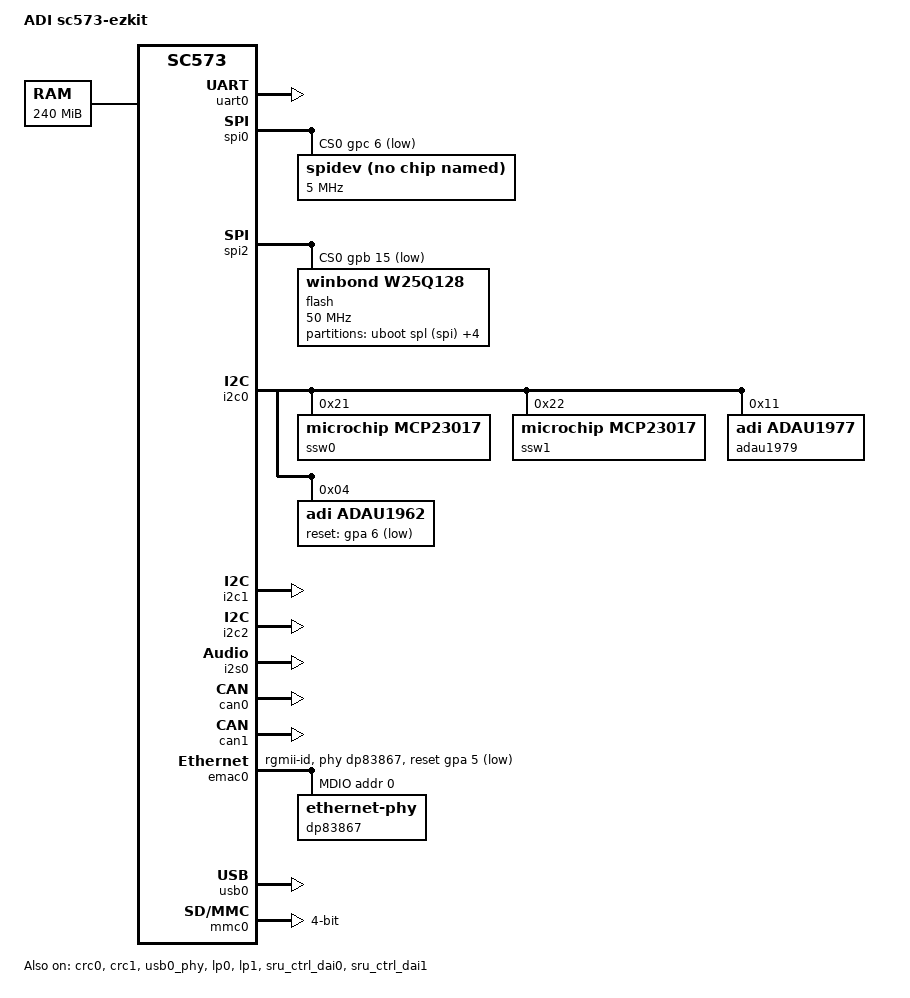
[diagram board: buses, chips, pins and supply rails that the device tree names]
/*
 * Device tree for ADI sc573-ezkit board
 *
 * Copyright 2014 - 2018 Analog Devices Inc.
 *
 * Licensed under the GPL-2 or later.
 *
 * todo list:
 * - bushbutton GPIOs are all incorrect and commented out for now
 */

/dts-v1/;

#include <dt-bindings/input/input.h>
#include <dt-bindings/gpio/gpio.h>
#include <dt-bindings/net/ti-dp83867.h>
#include <dt-bindings/pinctrl/adi-adsp.h>
#include <dt-bindings/pinctrl/adi-adsp-sru.h>
#include "sc57x.dtsi"

/ {
	model = "ADI sc573-ezkit";
	compatible = "adi,sc573-ezkit", "adi,sc57x";

	aliases {
		/* serial2 = &uart2; */
	};

	memory@80000000 {
		device_type = "memory";
		reg = <0x80000000 0xF000000>;
	};

	reserved-memory {
		vdev0vrings: vdev0vring0@20080000 {
			reg = <0x20080000 0x4000>;
			no-map;
		};

		vdev0buffer: vdev0buffer@20084000 {
			compatible = "shared-dma-pool";
			reg = <0x20084000 0x20000>;
			no-map;
		};

		vdev1vrings: vdev0vring0@200A4000 {
			reg = <0x200A4000 0x4000>;
			no-map;
		};

		vdev1buffer: vdev0buffer@200A8000 {
			compatible = "shared-dma-pool";
			reg = <0x200A8000 0x20000>;
			no-map;
		};
	};

	scb {
		button0: button@0 {
			compatible = "adi,button-led";
//			en-pins = <&ssw1 2 GPIO_ACTIVE_LOW>,	/* PUSHBUTTON1_EN */
//			          <&ssw1 3 GPIO_ACTIVE_LOW>;	/* LEDS_EN */
//			button_gpio = <40>;
//			led_gpio = <77>;
		};
		button1: button@1 {
			compatible = "adi,button-led";
//			en-pins = <&ssw1 1 GPIO_ACTIVE_LOW>,	/* PUSHBUTTON2_EN */
//			          <&ssw1 3 GPIO_ACTIVE_LOW>;	/* LEDS_EN */
//			button_gpio = <41>;
//			led_gpio = <9>;
		};
		button2: button@2 {
			compatible = "adi,button-led";
//			en-pins = <&ssw1 0 GPIO_ACTIVE_LOW>,	/* PUSHBUTTON3_EN */
//			          <&ssw1 3 GPIO_ACTIVE_LOW>;	/* LEDS_EN */
//			button_gpio = <42>;
//			led_gpio = <65>;
		};

		core1-rproc@0x3108C000 {
			compatible = "adi,remoteproc";
			reg = <0x28240000 0x2000>,
			      <0x20000000 0x200000>;
			core-id = <1>;
			core-irq = <84>;
			firmware-name = "adi_adsp_core1_fw.ldr";
			interrupts = <GIC_SPI 206 IRQ_TYPE_EDGE_RISING>;
			adi,rcu = <&rcu>;
			adi,l1-da = <0x240000 0x3a0000>;
			adi,l2-da = <0x20080000 0x200C0000>;
			adi,rsc-table = <&rsc_tbl0>;
			adi,tru = <&tru>;
			adi,tru-master-id = <71>; /* trigger master SOFT4 */
			status = "okay";
		};

		core2-rproc@0x3108C000 {
			compatible = "adi,remoteproc";
			reg = <0x28A40000 0x2000>,
			      <0x20000000 0x200000>;
			core-id = <2>;
			core-irq = <85>;
			firmware-name = "adi_adsp_core2_fw.ldr";
			interrupts = <GIC_SPI 206 IRQ_TYPE_EDGE_RISING>;
			adi,rcu = <&rcu>;
			adi,l1-da = <0x240000 0x3a0000>;
			adi,l2-da = <0x20080000 0x200C0000>;
			adi,rsc-table = <&rsc_tbl1>;
			adi,tru = <&tru>;
			adi,tru-master-id = <72>; /* trigger master SOFT5 */
			status = "okay";
		};

		sound {
			compatible = "adi,sc5xx-asoc-card";
			adi,cpu-dai = <&i2s0>;
			adi,codec = <&adau1962>, <&adau1979>;
			status = "okay";
		};
	};
};

&tru {
	mcapi_to_a5: channel@0 {
		adi,tru-master-id = <70>; /* trigger master SOFT3 */
		adi,tru-slave-id = <71>; /* TRU0_IRQ3 */
	};
	mcapi_to_sharc0: channel@1 {
		adi,tru-master-id = <71>; /* trigger master SOFT4 */
		adi,tru-slave-id = <75>; /* TRU0_IRQ7 */
	};
	mcapi_to_sharc1: channel@2 {
		adi,tru-master-id = <72>; /* trigger master SOFT5 */
		adi,tru-slave-id = <79>; /* TRU0_IRQ11 */
	};
};

&uart0 {
	pinctrl-names = "default";
	pinctrl-0 = <&uart0_default>;
	status = "okay";
};

&spi0 {
	pinctrl-names = "default";
	pinctrl-0 = <&spi0_default>;
	status = "okay";
	cs-gpios = <&gpc 6 GPIO_ACTIVE_LOW>;

	spidev@0 {
		#address-cells = <1>;
		size-cells = <1>;
		/* this is actually being used to control a tja1145 can transceiver */
		compatible = "rohm,dh2228fv";
		spi-max-frequency = <5000000>;
		reg = <0>;
	};
};

&spi2 {
	pinctrl-names = "default";
	pinctrl-0 = <&spi2_quad>;
	status = "okay";
	cs-gpios = <&gpb 15 GPIO_ACTIVE_LOW>;

	flash: w25q128@0 {
		#address-cells = <1>;
		#size-cells = <1>;
		compatible = "winbond,w25q128";
		spi-max-frequency = <50000000>;
		reg = <0>;
		spi-cpol;
		spi-cpha;
		spi-tx-bus-width = <4>;
		spi-rx-bus-width = <4>;

		partition@0 {
			label = "uboot spl (spi)";
			reg = <0x0 0x20000>;
		};

		partition@1 {
			label = "uboot proper (spi)";
			reg = <0x20000 0xb0000>;
		};

		partition@2 {
			label = "uboot env";
			reg = <0xd0000 0x10000>;
		};

		partition@3 {
			label = "kernel (spi)";
			reg = <0x00e0000 0x0600000>;
		};

		partition@4 {
			label = "root file system (spi)";
			reg = <0x06e0000 0x0920000>;
		};
	};
};

&i2c0 {
	status = "okay";

	ssw0: gpio@0x21 {
		compatible = "microchip,mcp23017";
		gpio-controller;
		#gpio-cells = <2>;
		reg = <0x21>;

		eeprom-en {
			gpio-hog;
			gpios = <0 0>;
			output-high;
			line-name = "~eeprom_en";
		};

		uart0-flow-en {
			gpio-hog;
			gpios = <1 0>;
			output-high;
			line-name = "~uart0-flow-en";
		};

		mlb3-en {
			gpio-hog;
			gpios = <5 0>;
			output-high;
			line-name = "~mlb3-en";
		};

		can0-en {
			gpio-hog;
			gpios = <6 0>;
			output-high;
			line-name = "~can0-en";
		};

		can1-en {
			gpio-hog;
			gpios = <7 0>;
			output-high;
			line-name = "~can1-en";
		};

		adau1962-en {
			gpio-hog;
			gpios = <8 0>;
			output-low;
			line-name = "adau1962-en";
		};

		adau1979-en {
			gpio-hog;
			gpios = <9 0>;
			output-low;
			line-name = "adau1979-en";
		};

		sd-wp-en {
			gpio-hog;
			gpios = <11 0>;
			output-high;
			line-name = "~sd-wp-en";
		};

		spi2flash-cs-en {
			gpio-hog;
			gpios = <12 0>;
			output-low;
			line-name = "~spi2flash-cs-en";
		};

		spi2d2-d3-en {
			gpio-hog;
			gpios = <13 0>;
			output-low;
			line-name = "~spi2-d2-d3-en";
		};

		spdif-optical-en {
			gpio-hog;
			gpios = <14 0>;
			output-high;
			line-name = "~spdif-optical-en";
		};

		spdif-digital-en {
			gpio-hog;
			gpios = <15 0>;
			output-high;
			line-name = "~spdif-digital-en";
		};

	};

	ssw1: gpio@0x22 {
		compatible = "microchip,mcp23017";
		gpio-controller;
		#gpio-cells = <2>;
		reg = <0x22>;

		pushbutton3-en {
			gpio-hog;
			gpios = <0 0>;
			output-low;
			line-name = "~pushbutton3-en";
		};

		pushbutton2-en {
			gpio-hog;
			gpios = <1 0>;
			output-low;
			line-name = "~pushbutton2-en";
		};

		pushbutton1-en {
			gpio-hog;
			gpios = <2 0>;
			output-low;
			line-name = "~pushbutton1-en";
		};

		leds-en {
			gpio-hog;
			gpios = <3 0>;
			output-high;
			line-name = "~leds-en";
		};

		flag0-loop {
			gpio-hog;
			gpios = <4 0>;
			output-high;
			line-name = "~flag0-loop";
		};

		flag1-loop {
			gpio-hog;
			gpios = <5 0>;
			output-high;
			line-name = "~flag1-loop";
		};

		flag2-loop {
			gpio-hog;
			gpios = <6 0>;
			output-high;
			line-name = "~flag2-loop";
		};

		flag3-loop {
			gpio-hog;
			gpios = <7 0>;
			output-high;
			line-name = "~flag3-loop";
		};

		adau1977-en {
			gpio-hog;
			gpios = <8 0>;
			output-high;
			line-name = "adau1977-en";
		};

		adau1977-fault-rst-en {
			gpio-hog;
			gpios = <9 0>;
			output-high;
			line-name = "~adau1977-fault-rst-en";
		};

		thumbwheel-oe {
			gpio-hog;
			gpios = <10 0>;
			output-high;
			line-name = "~thumbwheel-oe";
		};

		engine-rpm-oe {
			gpio-hog;
			gpios = <11 0>;
			output-high;
			line-name = "~engine-rpm-oe";
		};

	};

	adau1979: adau1979@0x11 {
		compatible = "adi,adau1977";
		reg = <0x11>;
	};

	adau1962: adau1962@0x4 {
		compatible = "adi,adau1962";
		reg = <0x4>;
		reset-gpios = <&gpa 6 GPIO_ACTIVE_LOW>;
	};
};

&i2c1 {
	status = "okay";
};

&i2c2 {
	status = "okay";
};

&i2s0 {
	pinctrl-names = "default";
	pinctrl-0 = <&sru_dai0>;
	status = "okay";
};

&crc0 {
	status = "okay";
};

&crc1 {
	status = "okay";
};

&can0 {
	pinctrl-names = "default";
	pinctrl-0 = <&can0_default>;
	phy-name = "tja1055";
	phy-gpios = <&gpa 1 0>,		/* en PA1 */
		    <&gpa 2 0x1>;	/* stb PA2, GPIO_ACTIVE_LOW */
	status = "okay";
};

&can1 {
	pinctrl-names = "default";
	pinctrl-0 = <&can1_default>;
	phy-name = "tja1145";
	phy-spibus = /bits/ 16 <0>;
	phy-spiclk = <1000000>;
	phy-spics = /bits/ 16 <38>;	/* GPIO_PC6 */
	status = "okay";
};

&emac0 {
	snps,reset-gpio = <&gpa 5 0>;
	snps,reset-active-low;
	snps,reset-delays-us = <0 10000 10000>;
	phy-handle = <&dp83867>;
	phy-mode = "rgmii-id";
	pinctrl-names = "default";
	pinctrl-0 = <&eth0_default>;
	status = "okay";
	mdio0 {
		compatible = "snps,dwmac-mdio";
		#address-cells = <1>;
		#size-cells = <0>;
		dp83867: ethernet-phy@0 {
			reg = <0>;
			ti,rx-internal-delay = <DP83867_RGMIIDCTL_2_00_NS>;
			ti,tx-internal-delay = <DP83867_RGMIIDCTL_2_00_NS>;
			ti,fifo-depth = <DP83867_PHYCR_FIFO_DEPTH_8_B_NIB>;
			ti,dp83867-rxctrl-strap-quirk;
		};
	};
};

&usb0_phy {
	status = "okay";
};

&usb0 {
	/* mode = <2>; Place OTG port into Device Mode */
	/* mode = <1>; Place OTG port into Host Mode */
	mode = <1>;
	status = "okay";
};

&mmc0 {
	wp-en-pin = <&ssw0 11 GPIO_ACTIVE_LOW>;	/* SD_WP_EN */
	bus-width = <4>;
	pinctrl-names = "default";
	pinctrl-0 = <&mmc0_default>;
	max-frequency = <18750000>;
	status = "okay";
};

&lp0 {
	pinctrl-names = "default";
	pinctrl-0 = <&lp0_default>;
	status = "okay";
};

&lp1 {
	pinctrl-names = "default";
	pinctrl-0 = <&lp1_default>;
	status = "okay";
};

&sram_mmap {
	status = "okay";
};

&pinctrl0 {
	uart0_default: uart0_default_pins {
		pins {
			pinmux = <ADI_ADSP_PINMUX('F', 8, ADI_ADSP_PINFUNC_ALT0)>,
				 <ADI_ADSP_PINMUX('F', 9, ADI_ADSP_PINFUNC_ALT0)>;
		};
	};
	uart0_hwflow: uart0_hwflow_pins {
		pins {
			pinmux = <ADI_ADSP_PINMUX('F', 8, ADI_ADSP_PINFUNC_ALT0)>,
				 <ADI_ADSP_PINMUX('F', 9, ADI_ADSP_PINFUNC_ALT0)>,
					 <ADI_ADSP_PINMUX('D', 5, ADI_ADSP_PINFUNC_ALT2)>,
					 <ADI_ADSP_PINMUX('D', 6, ADI_ADSP_PINFUNC_ALT2)>;
		};
	};
	eth0_default: eth0_default_pins {
		pins {
			pinmux = <ADI_ADSP_PINMUX('B', 7, ADI_ADSP_PINFUNC_ALT0)>,
				 <ADI_ADSP_PINMUX('B', 8, ADI_ADSP_PINFUNC_ALT0)>,
				 <ADI_ADSP_PINMUX('B', 6, ADI_ADSP_PINFUNC_ALT0)>,
				 <ADI_ADSP_PINMUX('B', 5, ADI_ADSP_PINFUNC_ALT0)>,
				 <ADI_ADSP_PINMUX('A', 13, ADI_ADSP_PINFUNC_ALT0)>,
				 <ADI_ADSP_PINMUX('A', 12, ADI_ADSP_PINFUNC_ALT0)>,
				 <ADI_ADSP_PINMUX('A', 14, ADI_ADSP_PINFUNC_ALT0)>,
				 <ADI_ADSP_PINMUX('A', 15, ADI_ADSP_PINFUNC_ALT0)>,
				 <ADI_ADSP_PINMUX('B', 9, ADI_ADSP_PINFUNC_ALT0)>,
				 <ADI_ADSP_PINMUX('B', 4, ADI_ADSP_PINFUNC_ALT0)>,
				 <ADI_ADSP_PINMUX('B', 0, ADI_ADSP_PINFUNC_ALT0)>,
				 <ADI_ADSP_PINMUX('B', 2, ADI_ADSP_PINFUNC_ALT0)>,
				 <ADI_ADSP_PINMUX('A', 10, ADI_ADSP_PINFUNC_ALT0)>,
				 <ADI_ADSP_PINMUX('A', 11, ADI_ADSP_PINFUNC_ALT0)>;
		};
	};
	spi0_default: spi0_default_pins {
		pins {
			pinmux = <ADI_ADSP_PINMUX('C', 1, ADI_ADSP_PINFUNC_ALT0)>,
				 <ADI_ADSP_PINMUX('C', 2, ADI_ADSP_PINFUNC_ALT0)>,
				 <ADI_ADSP_PINMUX('C', 3, ADI_ADSP_PINFUNC_ALT0)>;
		};
	};
	spi2_quad: spi2_quad_pins {
		pins {
			pinmux = <ADI_ADSP_PINMUX('B', 14, ADI_ADSP_PINFUNC_ALT0)>,
				 <ADI_ADSP_PINMUX('B', 10, ADI_ADSP_PINFUNC_ALT0)>,
				 <ADI_ADSP_PINMUX('B', 11, ADI_ADSP_PINFUNC_ALT0)>,
				 <ADI_ADSP_PINMUX('B', 12, ADI_ADSP_PINFUNC_ALT0)>,
				 <ADI_ADSP_PINMUX('B', 13, ADI_ADSP_PINFUNC_ALT0)>;
		};
	};
	can0_default: can0_default_pins {
		pins {
			pinmux = <ADI_ADSP_PINMUX('C', 12, ADI_ADSP_PINFUNC_ALT0)>,
				 <ADI_ADSP_PINMUX('C', 13, ADI_ADSP_PINFUNC_ALT0)>;

		};
	};
	can1_default: can1_default_pins {
		pins {
			pinmux = <ADI_ADSP_PINMUX('C', 14, ADI_ADSP_PINFUNC_ALT0)>,
				 <ADI_ADSP_PINMUX('C', 15, ADI_ADSP_PINFUNC_ALT0)>;
		};
	};
	mmc0_default: mmc0_default_pins {
		pins {
			pinmux = <ADI_ADSP_PINMUX('E', 12, ADI_ADSP_PINFUNC_ALT0)>,
		     <ADI_ADSP_PINMUX('E', 13, ADI_ADSP_PINFUNC_ALT0)>,
		     <ADI_ADSP_PINMUX('E', 14, ADI_ADSP_PINFUNC_ALT0)>,
		     <ADI_ADSP_PINMUX('E', 15, ADI_ADSP_PINFUNC_ALT0)>,
		     <ADI_ADSP_PINMUX('F', 0, ADI_ADSP_PINFUNC_ALT0)>,
		     <ADI_ADSP_PINMUX('F', 1, ADI_ADSP_PINFUNC_ALT0)>,
		     <ADI_ADSP_PINMUX('F', 2, ADI_ADSP_PINFUNC_ALT0)>,
		     <ADI_ADSP_PINMUX('F', 3, ADI_ADSP_PINFUNC_ALT0)>,
		     <ADI_ADSP_PINMUX('F', 4, ADI_ADSP_PINFUNC_ALT0)>,
		     <ADI_ADSP_PINMUX('F', 7, ADI_ADSP_PINFUNC_ALT2)>,
		     <ADI_ADSP_PINMUX('C', 12, ADI_ADSP_PINFUNC_ALT1)>;
		};
	};
	ppi0_8b: ppi0_8b_pins {
		pins {
			pinmux = <ADI_ADSP_PINMUX('D', 10, ADI_ADSP_PINFUNC_ALT1)>,
		     <ADI_ADSP_PINMUX('D', 11, ADI_ADSP_PINFUNC_ALT1)>,
		     <ADI_ADSP_PINMUX('D', 12, ADI_ADSP_PINFUNC_ALT1)>,
		     <ADI_ADSP_PINMUX('D', 13, ADI_ADSP_PINFUNC_ALT1)>,
		     <ADI_ADSP_PINMUX('D', 14, ADI_ADSP_PINFUNC_ALT1)>,
		     <ADI_ADSP_PINMUX('D', 15, ADI_ADSP_PINFUNC_ALT1)>,
		     <ADI_ADSP_PINMUX('C', 5, ADI_ADSP_PINFUNC_ALT1)>,
		     <ADI_ADSP_PINMUX('D', 9, ADI_ADSP_PINFUNC_ALT1)>,
		     <ADI_ADSP_PINMUX('C', 11, ADI_ADSP_PINFUNC_ALT1)>,
		     <ADI_ADSP_PINMUX('C', 14, ADI_ADSP_PINFUNC_ALT1)>,
		     <ADI_ADSP_PINMUX('C', 15, ADI_ADSP_PINFUNC_ALT1)>,
		     <ADI_ADSP_PINMUX('C', 6, ADI_ADSP_PINFUNC_ALT2)>;
		};
	};
	ppi0_16b: ppi0_16b_pins {
		pins {
			pinmux = <ADI_ADSP_PINMUX('D', 10, ADI_ADSP_PINFUNC_ALT1)>,
		     <ADI_ADSP_PINMUX('D', 11, ADI_ADSP_PINFUNC_ALT1)>,
		     <ADI_ADSP_PINMUX('D', 12, ADI_ADSP_PINFUNC_ALT1)>,
		     <ADI_ADSP_PINMUX('D', 13, ADI_ADSP_PINFUNC_ALT1)>,
		     <ADI_ADSP_PINMUX('D', 14, ADI_ADSP_PINFUNC_ALT1)>,
		     <ADI_ADSP_PINMUX('D', 15, ADI_ADSP_PINFUNC_ALT1)>,
		     <ADI_ADSP_PINMUX('C', 5, ADI_ADSP_PINFUNC_ALT1)>,
		     <ADI_ADSP_PINMUX('D', 9, ADI_ADSP_PINFUNC_ALT1)>,
		     <ADI_ADSP_PINMUX('C', 1, ADI_ADSP_PINFUNC_ALT1)>,
		     <ADI_ADSP_PINMUX('C', 2, ADI_ADSP_PINFUNC_ALT1)>,
		     <ADI_ADSP_PINMUX('C', 3, ADI_ADSP_PINFUNC_ALT1)>,
		     <ADI_ADSP_PINMUX('C', 4, ADI_ADSP_PINFUNC_ALT1)>,
		     <ADI_ADSP_PINMUX('E', 0, ADI_ADSP_PINFUNC_ALT1)>,
		     <ADI_ADSP_PINMUX('C', 7, ADI_ADSP_PINFUNC_ALT1)>,
		     <ADI_ADSP_PINMUX('C', 8, ADI_ADSP_PINFUNC_ALT1)>,
		     <ADI_ADSP_PINMUX('E', 1, ADI_ADSP_PINFUNC_ALT1)>,
		     <ADI_ADSP_PINMUX('C', 11, ADI_ADSP_PINFUNC_ALT1)>,
		     <ADI_ADSP_PINMUX('C', 14, ADI_ADSP_PINFUNC_ALT1)>,
		     <ADI_ADSP_PINMUX('C', 15, ADI_ADSP_PINFUNC_ALT1)>,
		     <ADI_ADSP_PINMUX('C', 6, ADI_ADSP_PINFUNC_ALT2)>;
		};
	};
	cnt0_default: cnt0_default_pins {
		pinmux = <ADI_ADSP_PINMUX('D', 7, ADI_ADSP_PINFUNC_ALT1)>,
			 <ADI_ADSP_PINMUX('E', 13, ADI_ADSP_PINFUNC_ALT2)>,
			 <ADI_ADSP_PINMUX('D', 8, ADI_ADSP_PINFUNC_ALT1)>;
	};
	lp0_default: lp0_default_pins {
		pinmux = <ADI_ADSP_PINMUX('E', 4, ADI_ADSP_PINFUNC_ALT0)>,
			 <ADI_ADSP_PINMUX('E', 5, ADI_ADSP_PINFUNC_ALT0)>,
			 <ADI_ADSP_PINMUX('E', 6, ADI_ADSP_PINFUNC_ALT0)>,
			 <ADI_ADSP_PINMUX('E', 7, ADI_ADSP_PINFUNC_ALT0)>,
			 <ADI_ADSP_PINMUX('E', 8, ADI_ADSP_PINFUNC_ALT0)>,
			 <ADI_ADSP_PINMUX('E', 9, ADI_ADSP_PINFUNC_ALT0)>,
			 <ADI_ADSP_PINMUX('E', 10, ADI_ADSP_PINFUNC_ALT0)>,
			 <ADI_ADSP_PINMUX('E', 11, ADI_ADSP_PINFUNC_ALT0)>,
			 <ADI_ADSP_PINMUX('E', 2, ADI_ADSP_PINFUNC_ALT0)>,
			 <ADI_ADSP_PINMUX('E', 3, ADI_ADSP_PINFUNC_ALT0)>;
	};
	lp1_default: lp1_default_pins {
		pinmux = <ADI_ADSP_PINMUX('D', 10, ADI_ADSP_PINFUNC_ALT0)>,
			 <ADI_ADSP_PINMUX('D', 11, ADI_ADSP_PINFUNC_ALT0)>,
			 <ADI_ADSP_PINMUX('D', 12, ADI_ADSP_PINFUNC_ALT0)>,
			 <ADI_ADSP_PINMUX('D', 13, ADI_ADSP_PINFUNC_ALT0)>,
			 <ADI_ADSP_PINMUX('D', 14, ADI_ADSP_PINFUNC_ALT0)>,
			 <ADI_ADSP_PINMUX('D', 15, ADI_ADSP_PINFUNC_ALT0)>,
			 <ADI_ADSP_PINMUX('A', 9, ADI_ADSP_PINFUNC_ALT1)>,
			 <ADI_ADSP_PINMUX('D', 9, ADI_ADSP_PINFUNC_ALT0)>,
			 <ADI_ADSP_PINMUX('B', 3, ADI_ADSP_PINFUNC_ALT2)>,
			 <ADI_ADSP_PINMUX('B', 1, ADI_ADSP_PINFUNC_ALT2)>;
	};
};

&sru_ctrl_dai0 {
	status = "okay";

	sru_dai0: sru_dai0_mux {
		route {
			sru-routing =
				<DAI0_LOW_F          DAI0_PBEN02_I>,  /* set DAI0_PIN02 to input */
				<DAI0_PB02_O_ABCDE   SPT0_ACLK_I>,    /* route DAI0_PIN02 to SPT0_ACLK */
				<DAI0_LOW_F          DAI0_PBEN04_I>,  /* set DAI0_PIN04 to input */
				<DAI0_PB04_O_ABCDE   SPT0_AFS_I>,     /* route DAI0_PIN04 to SPT0_AFS */
				<DAI0_HIGH_F         DAI0_PBEN01_I>,  /* set DAI0_PIN01 to output */
				<SPT0_AD0_O_BD       DAI0_PB01_I>,    /* route SPT4_AD0 to DAI0_PIN01 */
				<DAI0_LOW_F          DAI0_PBEN12_I>,  /* set DAI0_PIN12 to input */
				<DAI0_PB12_O_ABCDE   SPT0_BCLK_I>,    /* route DAI0_PIN12 to SPT0_BCLK */
				<DAI0_LOW_F          DAI0_PBEN20_I>,  /* set DAI0_PIN20 to input */
				<DAI0_PB20_O_ABCDE   SPT0_BFS_I>,     /* route DAI0_PIN20 to SPT0_BFS */
				<DAI0_LOW_F          DAI0_PBEN06_I>,  /* set DAI0_PIN06 to input */
				<DAI0_PB06_O_ABCDE   SPT0_BD0_I>;     /* route DAI0_PIN06 to SPT0_BD0 */
		};
	};
};

&sru_ctrl_dai1 {
	status = "okay";
};

